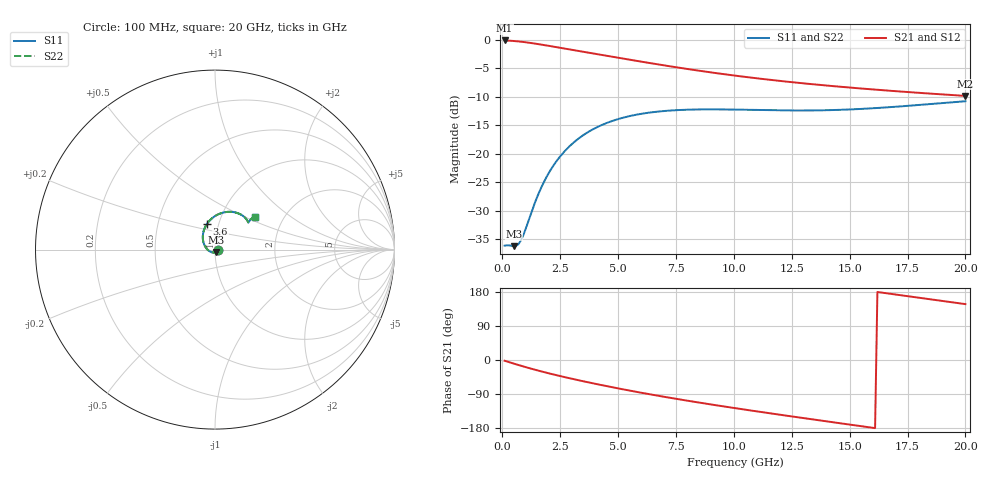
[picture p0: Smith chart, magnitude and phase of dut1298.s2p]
! Touchstone file exported from HFSS 2024.1.0
!  File:  C:/UserFiles/LocalFiles/RDL_TSV_Batchsim/temp_RDL_TSV_1298_1780281573.aedt
!  Generated:  10:52:47 AM Jun  1, 2026
!  Design:  RDL_TSV
!  Project:  temp_RDL_TSV_1298_1780281573
!  Setup:  Setup1
!  Solution:  Sweep
! Variables:
!  dtsv = 11.22um
!  hbump = 3um
!  htsv = 90.58um
!  ldown = 431.15um
!  lrdl = 390.32um
!  p = 40
!  p1 = 49.07um
!  rhole = 10um
!  subl = 2854.73um
!  t = 450um
!  tdown = 4.93um
!  trdl = 2.11um
!  viad = 10um
!  wdown = 20.71um
!  wrdl = 25.64um
!  xbump = 18um
# GHz S MA R 50.000000
! Terminal data exported
! Port[1] = TM1_1_T1
! Port[2] = TM1_4_T1
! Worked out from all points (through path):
!   200 points, 100 MHz to 20 GHz, reference 50 ohm
!   highest |S21| = -0.14 dB at 100 MHz (marker M1); lowest = -9.9 dB at 20 GHz (marker M2)
!   group delay of S21, straight-line fit = 27.8 ps
!   lowest |S11| = -36.2 dB at 500 MHz (marker M3), VSWR 1.03, Z = 50.8 - j1.32 ohm
!   |S11| at or under -10 dB: start of sweep to end of sweep
!   |S22| runs from -36.2 to -10.8 dB; largest |S21 - S12| = 2.4e-14
!   S11 on the Smith chart (normalised r, x): 100 MHz: 1.03, -0.00; 3.6 GHz: 0.88, +0.26; 20 GHz: 1.44, +0.57
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0.1  0.01557 -8.8  0.9838 -2.0  0.9838 -2.0  0.01557 -8.8
! Gamma 0 0 0 0
! Port Impedance 50 0 50 0
0.5  0.01541 -57.6  0.9732 -9.6  0.9732 -9.6  0.01541 -57.6
0.7  0.01609 -89.1  0.9648 -13.3  0.9648 -13.3  0.01609 -89.1
0.8  0.01725 -105.1  0.96 -15.1  0.96 -15.1  0.01725 -105.2
0.9  0.01909 -120.2  0.9548 -16.9  0.9548 -16.9  0.01909 -120.2
1.4  0.03668 -172.4  0.9243 -25.5  0.9243 -25.5  0.03669 -172.4
1.6  0.04621 174.5  0.9108 -28.8  0.9108 -28.8  0.04622 174.5
2.1  0.07263 150.4  0.8761 -36.5  0.8761 -36.5  0.07265 150.4
2.7  0.1053 129.9  0.8349 -45.3  0.8349 -45.3  0.1054 129.8
3.5  0.1454 109.6  0.7826 -56.2  0.7826 -56.2  0.1454 109.6
3.6  0.1499 107.4  0.7764 -57.5  0.7764 -57.5  0.1499 107.4
4.3  0.1784 94.0  0.7338 -66.4  0.7338 -66.4  0.1784 94.0
5  0.2009 83.0  0.6939 -74.9  0.6939 -74.9  0.2009 83.0
5.9  0.2216 71.5  0.6463 -85.3  0.6463 -85.3  0.2216 71.6
6.8  0.2346 62.4  0.6031 -95.1  0.6031 -95.1  0.2346 62.5
8.4  0.244 50.8  0.5375 -111.4  0.5375 -111.4  0.244 50.8
10.1  0.2432 43.4  0.482 -127.5  0.482 -127.5  0.2432 43.4
11.7  0.2399 40.0  0.4409 -141.9  0.4409 -141.9  0.2399 40.1
13.4  0.2392 39.1  0.4063 -156.7  0.4063 -156.7  0.2393 39.2
15  0.244 39.5  0.3799 -170.4  0.3799 -170.4  0.2441 39.7
16.7  0.2553 40.2  0.3567 175.2  0.3567 175.2  0.2555 40.3
20  0.2881 39.1  0.321 147.5  0.321 147.5  0.2886 39.2
